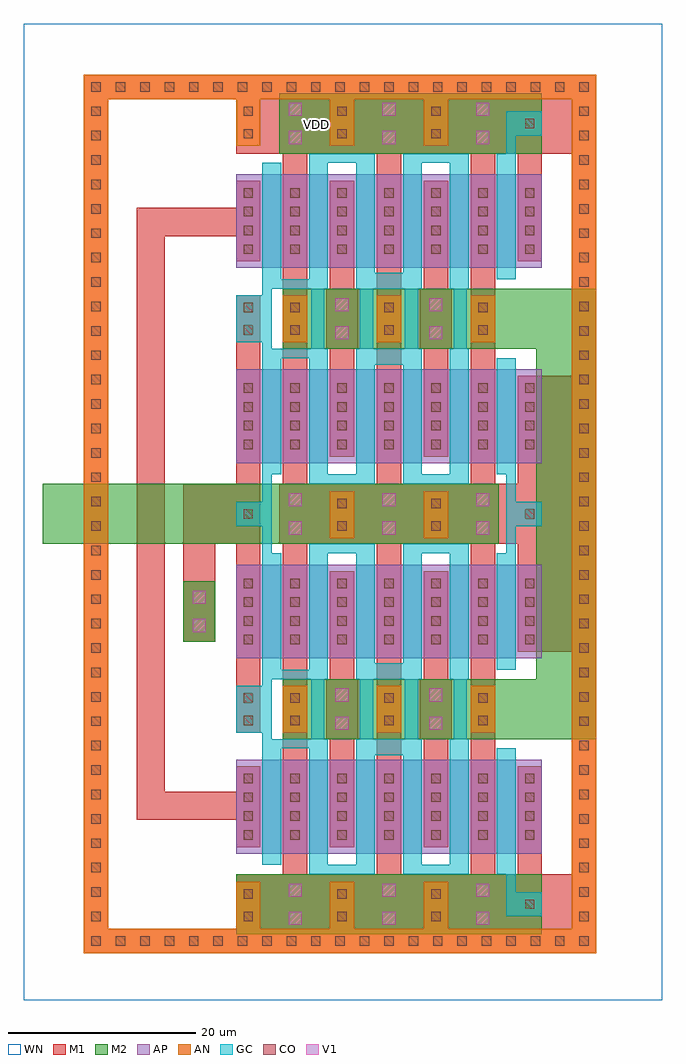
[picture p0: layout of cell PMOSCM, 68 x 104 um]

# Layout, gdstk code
from math import pi, radians
import gdstk
lib = gdstk.Library(unit=1e-6, precision=1e-09)
def R(c, l, rs):  # rectangles x0, y0, x1, y1
    for r in rs: c.add(gdstk.rectangle(r[:2], r[2:], *l))
def A(c, l, x, y, w, h, nx, ny, dx, dy):  # array of equal rectangles
    R(c, l, [(x+i*dx, y+j*dy, x+i*dx+w, y+j*dy+h) for i in range(nx) for j in range(ny)])
AP = (3, 1)
AN = (3, 2)
GC = (8, 1)
CO = (11, 0)
M1 = (13, 0)
V1 = (19, 0)
M2 = (20, 0)
WN = (140, 0)

cont_n_1 = lib.new_cell('cont_n$1')
R(cont_n_1, AN, [(-1.3,-1.3,1.3,1.3)])
R(cont_n_1, CO, [(-0.5,-0.5,0.5,0.5)])
R(cont_n_1, M1, [(-1.3,-1.3,1.3,1.3)])

cont_g = lib.new_cell('cont_g')
R(cont_g, GC, [(-1.3,-1.3,1.3,1.3)])
R(cont_g, CO, [(-0.5,-0.5,0.5,0.5)])
R(cont_g, M1, [(-1.3,-1.3,1.3,1.3)])

via_1 = lib.new_cell('via_1')
R(via_1, M1, [(-1.7,-1.7,1.7,1.7)])
R(via_1, V1, [(-0.7,-0.7,0.7,0.7)])
R(via_1, M2, [(-1.7,-1.7,1.7,1.7)])

fet_p_2 = lib.new_cell('fet_p$2')
R(fet_p_2, AP, [(-3.8,-5,3.8,5)])
A(fet_p_2, CO, -3, -3.5, 1, 1, 1, 4, 0, 2)
A(fet_p_2, CO, 2, -3.5, 1, 1, 1, 4, 0, 2)
R(fet_p_2, M1, [(-3.8,-4.3,-1.2,4.3), (1.2,-4.3,3.8,4.3)])
fet_p_2.add(gdstk.FlexPath([(0,-6.2),(0,6.2)], 2, ends="flush", simple_path=True, layer=8, datatype=1))  # GC

fet_p_2_1 = lib.new_cell('fet_p$2$1')
R(fet_p_2_1, AP, [(-3.8,-5,3.8,5)])
A(fet_p_2_1, CO, -3, -3.5, 1, 1, 1, 4, 0, 2)
A(fet_p_2_1, CO, 2, -3.5, 1, 1, 1, 4, 0, 2)
R(fet_p_2_1, M1, [(-3.8,-4.3,-1.2,4.3), (1.2,-4.3,3.8,4.3)])
fet_p_2_1.add(gdstk.FlexPath([(0,-6.2),(0,6.2)], 2, ends="flush", simple_path=True, layer=8, datatype=1))  # GC

fet_p = lib.new_cell('fet_p')
R(fet_p, AP, [(-11.3,-5,11.3,5)])
A(fet_p, CO, -10.5, -3.5, 1, 1, 5, 4, 5, 2)
A(fet_p, M1, -11.3, -4.3, 2.6, 8.6, 5, 1, 5, 0)
fet_p.add(gdstk.FlexPath([(2.5,-6.2),(2.5,6.2)], 2, ends="flush", simple_path=True, layer=8, datatype=1))  # GC
fet_p.add(gdstk.FlexPath([(-2.5,-6.2),(-2.5,6.2)], 2, ends="flush", simple_path=True, layer=8, datatype=1))  # GC
fet_p.add(gdstk.FlexPath([(7.5,-6.2),(7.5,6.2)], 2, ends="flush", simple_path=True, layer=8, datatype=1))  # GC
fet_p.add(gdstk.FlexPath([(-7.5,-6.2),(-7.5,6.2)], 2, ends="flush", simple_path=True, layer=8, datatype=1))  # GC

via_1_1 = lib.new_cell('via_1$1')
R(via_1_1, M1, [(-1.7,-1.7,1.7,1.7)])
R(via_1_1, V1, [(-0.7,-0.7,0.7,0.7)])
R(via_1_1, M2, [(-1.7,-1.7,1.7,1.7)])

cont_n = lib.new_cell('cont_n')
R(cont_n, AN, [(-1.3,-1.3,1.3,1.3)])
R(cont_n, CO, [(-0.5,-0.5,0.5,0.5)])
R(cont_n, M1, [(-1.3,-1.3,1.3,1.3)])

pmos80um = lib.new_cell('PMOS80um')
R(pmos80um, GC, [(-28.5,-17.6,-21.5,-16.6), (-18.5,-17.6,-11.5,-16.6), (-23.5,-4.9,-16.5,-3.2), (-28.5,-4.2,-26.5,-3.2), (-13.5,-4.2,-11.5,-3.2), (-28.5,3.2,-26.5,4.2), (-23.5,3.2,-16.5,4.9), (-13.5,3.2,-11.5,4.2), (-28.5,16.6,-21.5,17.6), (-18.5,16.6,-11.5,17.6)])
pmos80um.add(gdstk.FlexPath([(-12.4,-3.2),(-12.4,3.2),(-12.4,3.2)], 1.4, ends="flush", simple_path=True, layer=8, datatype=1))  # GC
pmos80um.add(gdstk.FlexPath([(-22.4,-3.2),(-22.4,3.2),(-22.4,3.2)], 1.4, ends="flush", simple_path=True, layer=8, datatype=1))  # GC
pmos80um.add(gdstk.FlexPath([(-17.6,-3.2),(-17.6,3.2),(-17.6,3.2)], 1.4, ends="flush", simple_path=True, layer=8, datatype=1))  # GC
pmos80um.add(gdstk.FlexPath([(-27.6,-3.2),(-27.6,3.2),(-27.6,3.2)], 1.4, ends="flush", simple_path=True, layer=8, datatype=1))  # GC
pmos80um.add(gdstk.FlexPath([(-30,-17.6),(-30,-14.7)], 2.6, ends="flush", simple_path=True, layer=13, datatype=0))  # M1
pmos80um.add(gdstk.FlexPath([(-30,18.5),(-30,14.7)], 2.6, ends="flush", simple_path=True, layer=13, datatype=0))  # M1
pmos80um.add(gdstk.FlexPath([(-5,-17.6),(-5,-14.7)], 2.6, ends="flush", simple_path=True, layer=13, datatype=0))  # M1
pmos80um.add(gdstk.FlexPath([(-10,-17.6),(-10,-14.7)], 2.6, ends="flush", simple_path=True, layer=13, datatype=0))  # M1
pmos80um.add(gdstk.FlexPath([(-10,18.5),(-10,14.7)], 2.6, ends="flush", simple_path=True, layer=13, datatype=0))  # M1
pmos80um.add(gdstk.FlexPath([(-5,-17.6),(-5,-14.7)], 2.6, ends="flush", simple_path=True, layer=13, datatype=0))  # M1
pmos80um.add(gdstk.FlexPath([(-5,18.5),(-5,14.7)], 2.6, ends="flush", simple_path=True, layer=13, datatype=0))  # M1
pmos80um.add(gdstk.FlexPath([(-10,-17.6),(-10,-14.7)], 2.6, ends="flush", simple_path=True, layer=13, datatype=0))  # M1
pmos80um.add(gdstk.FlexPath([(-30,-17.6),(-30,-14.7)], 2.6, ends="flush", simple_path=True, layer=13, datatype=0))  # M1
pmos80um.add(gdstk.FlexPath([(-20,-17.6),(-20,-14.7)], 2.6, ends="flush", simple_path=True, layer=13, datatype=0))  # M1
pmos80um.add(gdstk.FlexPath([(-10,-6.1),(-10,-2.5),(-10,-2.5)], 2.6, ends="flush", simple_path=True, layer=13, datatype=0))  # M1
pmos80um.add(gdstk.FlexPath([(-10,2.5),(-10,6.1)], 2.6, ends="flush", simple_path=True, layer=13, datatype=0))  # M1
pmos80um.add(gdstk.FlexPath([(-20,-6.1),(-20,-2.5),(-20,-2.5)], 2.6, ends="flush", simple_path=True, layer=13, datatype=0))  # M1
pmos80um.add(gdstk.FlexPath([(-20,2.5),(-20,6.1)], 2.6, ends="flush", simple_path=True, layer=13, datatype=0))  # M1
pmos80um.add(gdstk.FlexPath([(-30,-6.1),(-30,-2.5),(-30,-2.5)], 2.6, ends="flush", simple_path=True, layer=13, datatype=0))  # M1
pmos80um.add(gdstk.FlexPath([(-30,2.5),(-30,6.1)], 2.6, ends="flush", simple_path=True, layer=13, datatype=0))  # M1
pmos80um.add(gdstk.FlexPath([(-30,14.7),(-30,18.5)], 2.6, ends="flush", simple_path=True, layer=13, datatype=0))  # M1
pmos80um.add(gdstk.FlexPath([(-20,18.5),(-20,14.7)], 2.6, ends="flush", simple_path=True, layer=13, datatype=0))  # M1
pmos80um.add(gdstk.FlexPath([(-10,18.5),(-10,14.7)], 2.6, ends="flush", simple_path=True, layer=13, datatype=0))  # M1
pmos80um.add(gdstk.FlexPath([(-15,-6.1),(-15,-3.2)], 2.6, ends="flush", simple_path=True, layer=13, datatype=0))  # M1
pmos80um.add(gdstk.FlexPath([(-15,3.2),(-15,6.1)], 2.6, ends="flush", simple_path=True, layer=13, datatype=0))  # M1
pmos80um.add(gdstk.FlexPath([(-25,3.2),(-25,6.1)], 2.6, ends="flush", simple_path=True, layer=13, datatype=0))  # M1
pmos80um.add(gdstk.FlexPath([(-25,-6.1),(-25,-3.2)], 2.6, ends="flush", simple_path=True, layer=13, datatype=0))  # M1
pmos80um.add(gdstk.FlexPath([(-31.3,0),(-8.7,0)], 6.4, ends="flush", simple_path=True, layer=20, datatype=0))  # M2
pmos80um.add(gdstk.Reference(fet_p_2, (-32.5,10.4)))
pmos80um.add(gdstk.Reference(fet_p_2_1, (-7.5,10.4), rotation=pi, x_reflection=True))
pmos80um.add(gdstk.Reference(fet_p, (-20,10.4)))
pmos80um.add(gdstk.Reference(fet_p_2, (-32.5,-10.4), x_reflection=True))
pmos80um.add(gdstk.Reference(fet_p_2_1, (-7.5,-10.4), rotation=pi))
r = gdstk.Reference(via_1_1, (-25,1.5), x_reflection=True); r.repetition = gdstk.Repetition(2, 2, v1=(10,0), v2=(0,-3)); pmos80um.add(r)
pmos80um.add(gdstk.Reference(fet_p, (-20,-10.4), x_reflection=True))
r = gdstk.Reference(cont_n, (-10,-1.2)); r.repetition = gdstk.Repetition(1, 2, v1=(0,0), v2=(0,2.4)); pmos80um.add(r)
r = gdstk.Reference(cont_n, (-20,-1.2)); r.repetition = gdstk.Repetition(1, 2, v1=(0,0), v2=(0,2.4)); pmos80um.add(r)
r = gdstk.Reference(cont_n, (-30,-1.2)); r.repetition = gdstk.Repetition(1, 2, v1=(0,0), v2=(0,2.4)); pmos80um.add(r)

pmoscm = lib.new_cell('PMOSCM')
A(pmoscm, GC, 100.4, 8.9, 0.2, 2.6, 1, 3, 0, 41.6)
R(pmoscm, GC, [(99.4,8.9,100.4,14.4), (98.4,13.4,99.4,14.4), (74.4,26.8,78.4,27.8), (73.2,28.5,73.4,33.5), (74.4,34.2,78.4,35.2), (73.4,47.6,74.4,56), (99.4,47.6,100.4,56), (71.2,50.5,71.4,53.1), (73.2,50.5,73.4,53.1), (74.4,68.4,78.4,69.4), (73.2,70.1,73.4,75.1), (74.4,75.8,78.4,76.8), (98.4,89.2,99.4,90.2), (99.4,89.2,100.4,94.7)])
A(pmoscm, M1, 98.6, 7, 4.6, 6.4, 1, 3, 0, 41.6)
R(pmoscm, M1, [(103.2,37.1,106.4,66.5), (68.4,48.6,73.2,55)])
R(pmoscm, WN, [(48,0,116,104)])
pmoscm.add(gdstk.FlexPath([(73.9,68.4),(73.9,76.8)], 1, ends="flush", simple_path=True, layer=8, datatype=1))  # GC
pmoscm.add(gdstk.FlexPath([(73.9,26.8),(73.9,35.2),(73.9,35.2)], 1, ends="flush", simple_path=True, layer=8, datatype=1))  # GC
pmoscm.add(gdstk.FlexPath([(71.9,45.7),(71.9,57.9)], 2.6, ends="flush", simple_path=True, layer=13, datatype=0))  # M1
pmoscm.add(gdstk.FlexPath([(70.6,10.2),(106.4,10.2)], 6.4, ends="flush", simple_path=True, layer=13, datatype=0))  # M1
pmoscm.add(gdstk.FlexPath([(66.7,44.6),(66.7,55)], 3.4, ends="flush", simple_path=True, layer=13, datatype=0))  # M1
pmoscm.add(gdstk.FlexPath([(71.9,37.1),(71.9,32.4)], 2.6, ends="flush", simple_path=True, layer=13, datatype=0))  # M1
pmoscm.add(gdstk.FlexPath([(71.9,66.5),(71.9,71.3)], 2.6, ends="flush", simple_path=True, layer=13, datatype=0))  # M1
pmoscm.add(gdstk.FlexPath([(71.6,20.7),(61.5,20.7),(61.5,51.8)], 3, ends="flush", simple_path=True, layer=13, datatype=0))  # M1
pmoscm.add(gdstk.FlexPath([(71.6,82.9),(61.5,82.9),(61.5,51.8)], 3, ends="flush", simple_path=True, layer=13, datatype=0))  # M1
pmoscm.add(gdstk.FlexPath([(70.6,93.4),(106.4,93.4)], 6.4, ends="flush", simple_path=True, layer=13, datatype=0))  # M1
pmoscm.add(gdstk.FlexPath([(75.2,51.8),(103.2,51.8)], 6.4, ends="flush", simple_path=True, layer=13, datatype=0))  # M1
pmoscm.add(gdstk.FlexPath([(75.2,93.4),(103.2,93.4)], 6.4, ends="flush", simple_path=True, layer=20, datatype=0))  # M2
pmoscm.add(gdstk.FlexPath([(75.2,51.8),(50,51.8)], 6.4, ends="flush", simple_path=True, layer=20, datatype=0))  # M2
pmoscm.add(gdstk.FlexPath([(70.6,10.2),(103.2,10.2)], 6.4, ends="flush", simple_path=True, layer=20, datatype=0))  # M2
pmoscm.add(gdstk.FlexPath([(75.2,51.8),(98.6,51.8)], 6.4, ends="flush", simple_path=True, layer=20, datatype=0))  # M2
pmoscm.add(gdstk.FlexPath([(105.8,27.8),(105.8,75.8)], 6.4, ends="flush", simple_path=True, layer=20, datatype=0))  # M2
pmoscm.add(gdstk.FlexPath([(93.6,31),(109,31)], 6.4, ends="flush", simple_path=True, layer=20, datatype=0))  # M2
pmoscm.add(gdstk.FlexPath([(93.6,72.6),(109,72.6)], 6.4, ends="flush", simple_path=True, layer=20, datatype=0))  # M2
r = gdstk.Reference(cont_n_1, (107.7,6.3)); r.repetition = gdstk.Repetition(1, 36, v1=(0,0), v2=(0,2.6)); pmoscm.add(r)
r = gdstk.Reference(cont_n_1, (107.7,6.3), rotation=pi, x_reflection=True); r.repetition = gdstk.Repetition(21, 1, v1=(-2.6,0), v2=(0,0)); pmoscm.add(r)
pmoscm.add(gdstk.Reference(cont_g, (101.9,10.2)))
r = gdstk.Reference(cont_g, (71.9,71.4), rotation=pi/2); r.repetition = gdstk.Repetition(2, 1, v1=(0,2.4), v2=(0,0)); pmoscm.add(r)
r = gdstk.Reference(cont_n_1, (91.9,8.9)); r.repetition = gdstk.Repetition(1, 2, v1=(0,0), v2=(0,2.4)); pmoscm.add(r)
r = gdstk.Reference(cont_n_1, (81.9,8.9)); r.repetition = gdstk.Repetition(1, 2, v1=(0,0), v2=(0,2.4)); pmoscm.add(r)
r = gdstk.Reference(cont_n_1, (71.9,8.9)); r.repetition = gdstk.Repetition(1, 2, v1=(0,0), v2=(0,2.4)); pmoscm.add(r)
r = gdstk.Reference(cont_n_1, (55.7,8.9)); r.repetition = gdstk.Repetition(1, 35, v1=(0,0), v2=(0,2.6)); pmoscm.add(r)
r = gdstk.Reference(via_1, (66.7,39.9)); r.repetition = gdstk.Repetition(1, 2, v1=(0,0), v2=(0,3)); pmoscm.add(r)
pmoscm.add(gdstk.Reference(pmos80um, (106.9,72.6)))
r = gdstk.Reference(via_1, (96.9,11.7), rotation=pi); r.repetition = gdstk.Repetition(3, 2, v1=(-10,0), v2=(0,-3)); pmoscm.add(r)
pmoscm.add(gdstk.Reference(cont_g, (101.9,93.4), x_reflection=True))
pmoscm.add(gdstk.Reference(cont_g, (101.9,51.8)))
r = gdstk.Reference(cont_n_1, (91.9,92.3)); r.repetition = gdstk.Repetition(1, 2, v1=(0,0), v2=(0,2.4)); pmoscm.add(r)
r = gdstk.Reference(cont_n_1, (81.9,92.3)); r.repetition = gdstk.Repetition(1, 2, v1=(0,0), v2=(0,2.4)); pmoscm.add(r)
r = gdstk.Reference(cont_n_1, (71.9,92.3)); r.repetition = gdstk.Repetition(1, 2, v1=(0,0), v2=(0,2.4)); pmoscm.add(r)
r = gdstk.Reference(via_1, (96.9,94.9), rotation=pi); r.repetition = gdstk.Repetition(3, 2, v1=(-10,0), v2=(0,-3)); pmoscm.add(r)
r = gdstk.Reference(cont_n_1, (91.9,50.5)); r.repetition = gdstk.Repetition(1, 2, v1=(0,0), v2=(0,2.4)); pmoscm.add(r)
r = gdstk.Reference(cont_n_1, (81.9,50.5)); r.repetition = gdstk.Repetition(1, 2, v1=(0,0), v2=(0,2.4)); pmoscm.add(r)
r = gdstk.Reference(cont_g, (71.9,29.8), rotation=pi/2); r.repetition = gdstk.Repetition(2, 1, v1=(0,2.4), v2=(0,0)); pmoscm.add(r)
r = gdstk.Reference(cont_n_1, (107.7,97.3), rotation=pi, x_reflection=True); r.repetition = gdstk.Repetition(20, 1, v1=(-2.6,0), v2=(0,0)); pmoscm.add(r)
pmoscm.add(gdstk.Reference(cont_g, (71.9,51.8)))
pmoscm.add(gdstk.Reference(pmos80um, (106.9,31), x_reflection=True))
r = gdstk.Reference(via_1, (76.9,53.3), x_reflection=True); r.repetition = gdstk.Repetition(3, 2, v1=(10,0), v2=(0,-3)); pmoscm.add(r)
pmoscm.add(gdstk.Label('VDD', (79.2,93.3), layer=49, texttype=0))

lib.write_gds('PMOSCM.gds')
